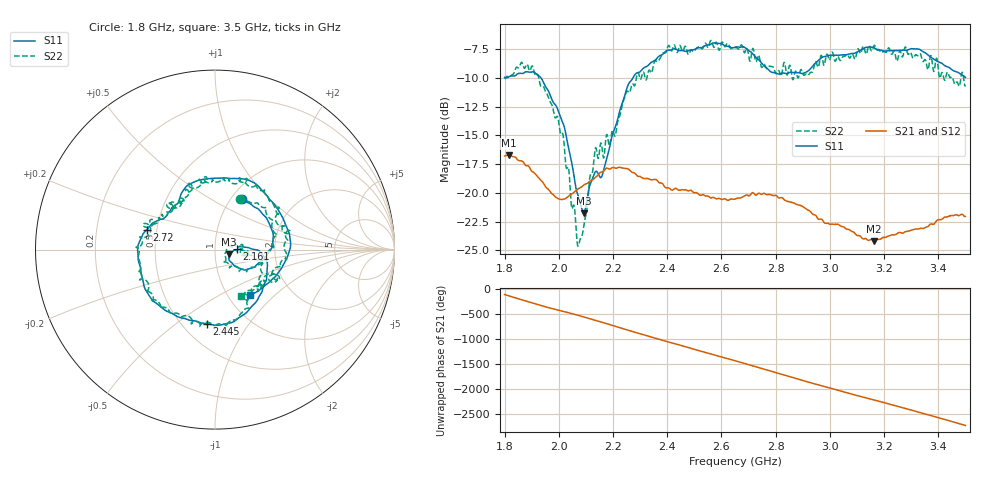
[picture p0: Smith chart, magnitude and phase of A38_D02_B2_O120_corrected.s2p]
! Created with skrf 1.9.0 (http://scikit-rf.org).
# Hz S RI R 50.0
!freq ReS11 ImS11 ReS21 ImS21 ReS12 ImS12 ReS22 ImS22
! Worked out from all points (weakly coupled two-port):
!   1601 points, 1.8 GHz to 3.5 GHz, reference 50 ohm
!   highest |S21| = -16.72 dB at 1.815 GHz (marker M1); lowest = -24.2 dB at 3.162 GHz (marker M2)
!   lowest |S11| = -21.8 dB at 2.092 GHz (marker M3), VSWR 1.18, Z = 58.3 - j3.11 ohm
!   |S11| at or under -10 dB: 1.804712 GHz to 1.807865 GHz (3.154 MHz wide, 0.175 % of centre); 1.934 GHz to 2.274 GHz (339.1 MHz wide, 16.1 % of centre)
!   |S22| runs from -24.6 to -6.7 dB; largest |S21 - S12| = 0.0024
!   S11 on the Smith chart (normalised r, x): 1.8 GHz: 1.12, +0.70; 2.161 GHz: 1.27, +0.02; 2.445 GHz: 0.66, -0.66; 2.72 GHz: 0.44, +0.12; 3.5 GHz: 1.26, -0.71
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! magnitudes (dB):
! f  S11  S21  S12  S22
! 1.8 GHz  -10.0  -16.8  -16.8  -10.1
! 1.815 GHz  -9.9  -16.7  -16.7  -10.0
! 1.901 GHz  -9.5  -18.1  -18.1  -9.0
! 1.965 GHz  -11.3  -19.8  -19.9  -11.9
! 2.014 GHz  -13.8  -20.6  -20.6  -14.8
! 2.07 GHz  -20.1  -19.7  -19.7  -24.6
! 2.084 GHz  -21.3  -19.5  -19.4  -23.8
! 2.092 GHz  -21.8  -19.3  -19.4  -22.9
! 2.133 GHz  -18.3  -18.7  -18.7  -16.4
! 2.161 GHz  -18.4  -18.2  -18.1  -16.4
! 2.21 GHz  -14.1  -17.8  -17.8  -14.8
! 2.257 GHz  -10.5  -17.9  -17.9  -11.2
! 2.367 GHz  -8.2  -19.0  -19.0  -8.5
! 2.445 GHz  -7.6  -19.8  -19.8  -7.2
! 2.65 GHz  -7.3  -20.5  -20.5  -7.4
! 2.72 GHz  -8.0  -20.1  -20.0  -7.8
! 2.807 GHz  -9.7  -20.4  -20.3  -9.4
! 2.934 GHz  -9.1  -21.8  -21.8  -9.5
! 3.162 GHz  -7.4  -24.2  -24.1  -7.2
! 3.217 GHz  -7.6  -23.7  -23.7  -7.4
! 3.328 GHz  -7.5  -23.1  -23.1  -8.0
! 3.5 GHz  -10.0  -22.0  -22.0  -10.6
